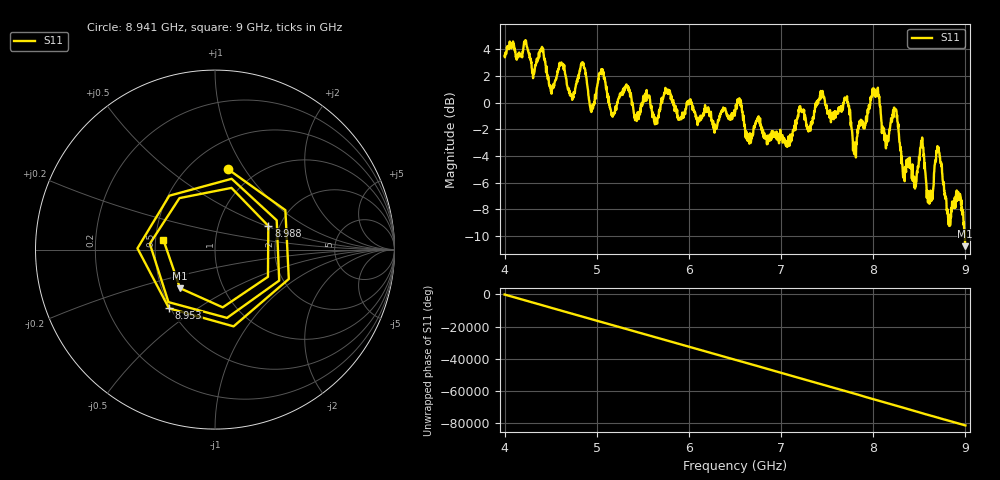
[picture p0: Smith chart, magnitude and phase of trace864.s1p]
! Created with skrf 1.8.0 (http://scikit-rf.org).
# Hz S RI R 50.0
!freq ReS11 ImS11
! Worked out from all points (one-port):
!   1601 points, 4 GHz to 9 GHz, reference 50 ohm
!   lowest |S11| = -10.7 dB at 8.997 GHz (marker M1), VSWR 1.82, Z = 31.1 - j14.6 ohm
!   |S11| at or under -10 dB: 8.994703 GHz to end of sweep
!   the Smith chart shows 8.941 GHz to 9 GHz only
!   S11 on the Smith chart (normalised r, x): 8.941 GHz: 0.74, +0.84; 8.953 GHz: 0.49, -0.39; 8.988 GHz: 1.75, +0.52; 9 GHz: 0.55, +0.06
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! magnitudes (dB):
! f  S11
! 4 GHz  3.5
! 4.403 GHz  4.1
! 4.506 GHz  0.9
! 4.625 GHz  2.9
! 4.731 GHz  0.4
! 4.85 GHz  3.0
! 4.944 GHz  -0.6
! 5.05 GHz  2.5
! 5.166 GHz  -1.0
! 5.25 GHz  0.6
! 5.875 GHz  -1.1
! 6.5 GHz  -0.7
! 7.125 GHz  -2.2
! 7.444 GHz  0.5
! 7.75 GHz  -0.7
! 7.803 GHz  -3.0
! 8.028 GHz  0.5
! 8.375 GHz  -4.5
! 8.453 GHz  -6.4
! 8.528 GHz  -2.9
! 8.619 GHz  -6.8
! 8.709 GHz  -3.3
! 8.819 GHz  -9.2
! 8.941 GHz  -6.8
! 8.953 GHz  -7.6
! 8.988 GHz  -9.8
! 8.997 GHz  -10.7
! 9 GHz  -10.7
